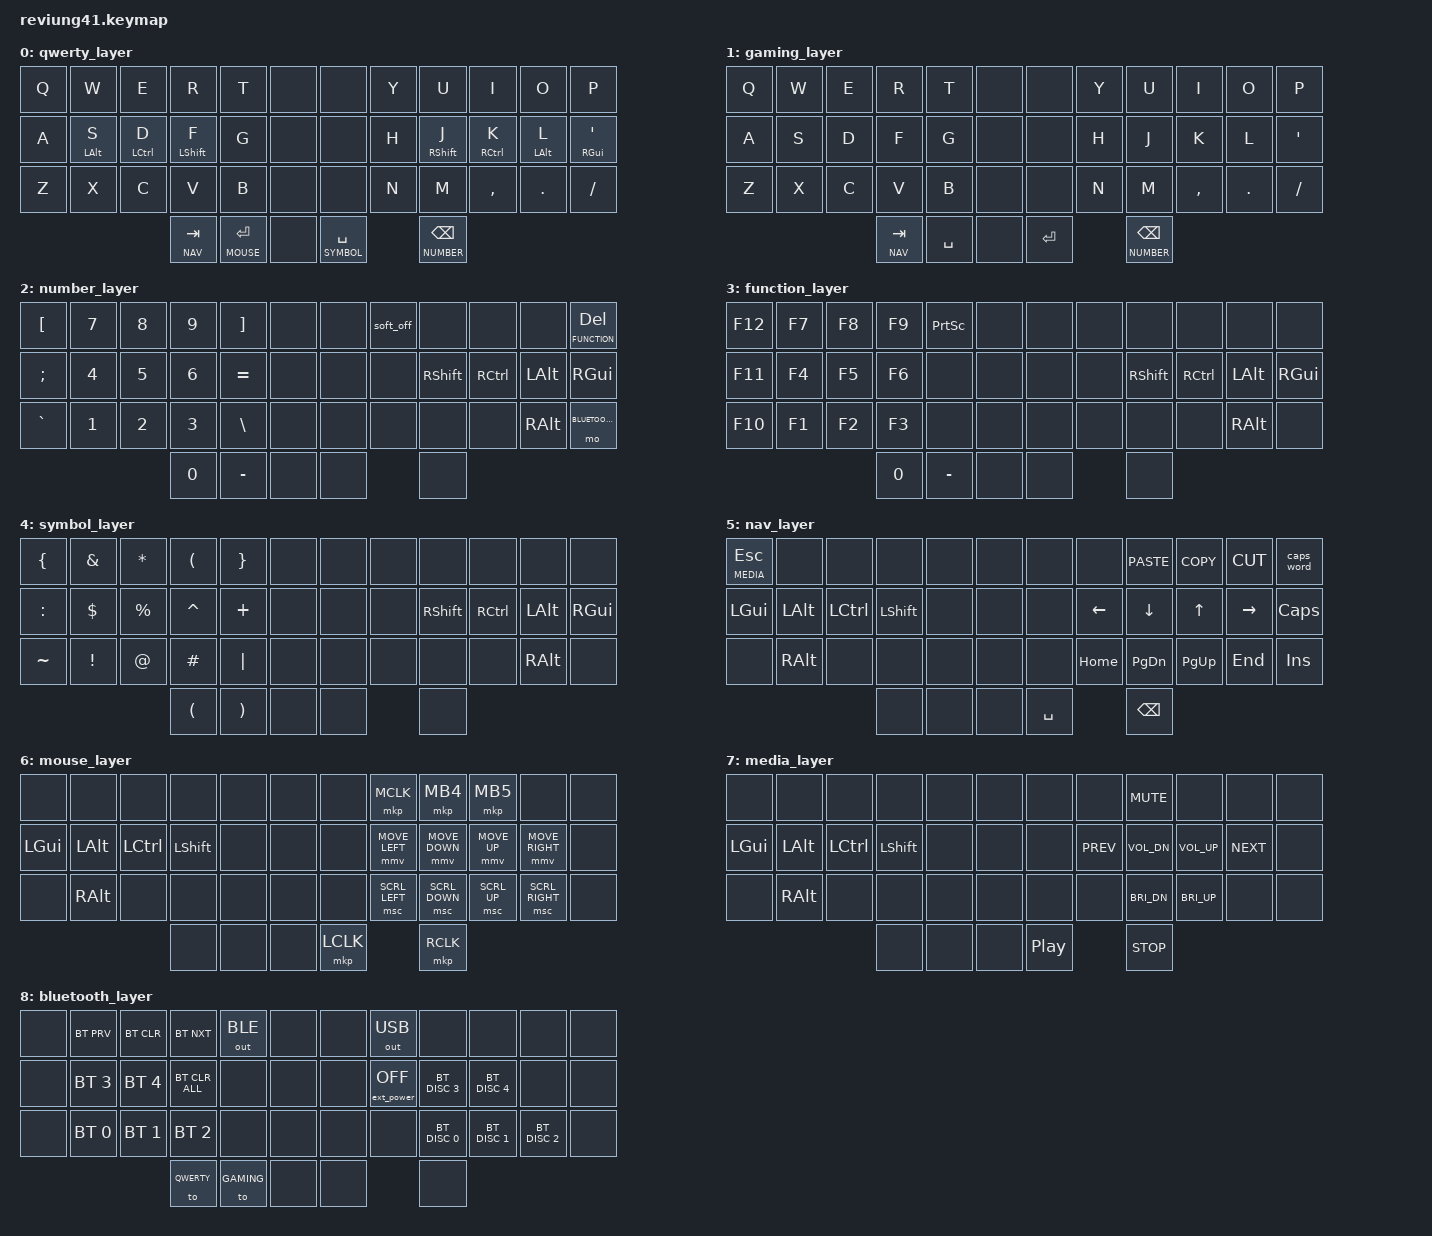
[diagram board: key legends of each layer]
#define ZMK_POINTING_DEFAULT_MOVE_VAL 1500  // 600
#define ZMK_POINTING_DEFAULT_SCRL_VAL 20    // 10

#include "keys-34.h"
#include <dt-bindings/zmk/pointing.h>
#include <behaviors.dtsi>
#include <dt-bindings/zmk/keys.h>
#include <dt-bindings/zmk/bt.h>
#include <dt-bindings/zmk/outputs.h>
#include <dt-bindings/zmk/ext_power.h>

#define QWERTY 0
#define GAMING 1
#define NUMBER 2
#define FUNCTION 3
#define SYMBOL 4
#define NAV 5
#define MOUSE 6
#define MEDIA 7
#define BLUETOOTH 8

#define TAPPING_TERM_MS 200
#define REQUIRE_PRIOR_IDLE_MS 30
#define QUICK_TAP_MS 150
#define HOLD_TIME_MS 1000

#define KEYS_L LT0 LT1 LT2 LT3 LT4 LM0 LM1 LM2 LM3 LM4 LB0 LB1 LB2 LB3 LB4  // left hand
#define KEYS_R RT0 RT1 RT2 RT3 RT4 RM0 RM1 RM2 RM3 RM4 RB0 RB1 RB2 RB3 RB4  // right hand
#define THUMBS LH1 LH0 RH0 RH1

&soft_off {
    hold-time-ms = <HOLD_TIME_MS>; // Only turn off it the key is held for 1 seconds or longer.
};

/ {
        vbatt: vbatt {
                compatible = "zmk,battery-nrf-vddh";
        };
        chosen {
                zmk,battery = &vbatt;
        };
        behaviors {
                hml: hml {
                        compatible = "zmk,behavior-hold-tap";
                        #binding-cells = <2>;
                        flavor = "balanced";
                        tapping-term-ms = <TAPPING_TERM_MS>;                        // <---[[produces tap if held longer than tapping-term-ms]]
                        quick-tap-ms = <QUICK_TAP_MS>;
                        require-prior-idle-ms = <REQUIRE_PRIOR_IDLE_MS>;
                        bindings = <&kp>, <&kp>;
                        hold-trigger-key-positions = <KEYS_R THUMBS>;
                        hold-trigger-on-release;
                };
                hmr: hmr {
                        compatible = "zmk,behavior-hold-tap";
                        #binding-cells = <2>;
                        flavor = "balanced";
                        tapping-term-ms = <TAPPING_TERM_MS>;                        // <---[[produces tap if held longer than tapping-term-ms]]
                        quick-tap-ms = <QUICK_TAP_MS>;
                        require-prior-idle-ms = <REQUIRE_PRIOR_IDLE_MS>;
                        bindings = <&kp>, <&kp>;
                        hold-trigger-key-positions = <KEYS_R THUMBS>;
                        hold-trigger-on-release;
                };
        };
        keymap {
                compatible = "zmk,keymap";

                qwerty_layer { // 0
                        bindings = <
   &kp Q  &kp W       &kp E        &kp R        &kp T &none     &none &kp Y &kp U        &kp I        &kp O       &kp P
   &kp A  &hml LALT S &hml LCTRL D &hml LSHFT F &kp G &none     &none &kp H &hmr RSHFT J &hmr RCTRL K &hmr LALT L &hmr RGUI QUOT
   &kp Z  &kp X       &kp C        &kp V        &kp B &none     &none &kp N &kp M        &kp COMMA    &kp DOT     &kp FSLH
                               &lt NAV TAB &lt MOUSE ENTER &none &lt SYMBOL SPACE &lt NUMBER BACKSPACE
                        >;
                };

                gaming_layer { // 1
                        bindings = <
   &kp Q  &kp W  &kp E  &kp R  &kp T &none          &none &kp Y &kp U &kp I      &kp O    &kp P
   &kp A  &kp S  &kp D  &kp F  &kp G &none          &none &kp H &kp J &kp K      &kp L    &kp QUOT
   &kp Z  &kp X  &kp C  &kp V  &kp B &none          &none &kp N &kp M &kp COMMA  &kp DOT  &kp FSLH
                               &lt NAV TAB &kp SPACE &none &kp ENTER &lt NUMBER BACKSPACE
                        >;
                };

                number_layer { // 2
                        bindings = <
   &kp LBKT  &kp N7 &kp N8 &kp N9 &kp RBKT  &none       &none &soft_off &none     &none     &none    &lt FUNCTION DELETE
   &kp SEMI  &kp N4 &kp N5 &kp N6 &kp EQUAL &none       &none &none     &kp RSHFT &kp RCTRL &kp LALT &kp RGUI
   &kp GRAVE &kp N1 &kp N2 &kp N3 &kp BSLH  &none       &none &none     &none     &none     &kp RALT &mo BLUETOOTH
                                 &kp N0 &kp MINUS &none &none &none
                        >;
                };

                function_layer { // 3
                        bindings = <
   &kp F12 &kp F7 &kp F8 &kp F9 &kp PSCRN &none       &none &none &none     &none     &none    &none
   &kp F11 &kp F4 &kp F5 &kp F6 &none     &none       &none &none &kp RSHFT &kp RCTRL &kp LALT &kp RGUI
   &kp F10 &kp F1 &kp F2 &kp F3 &none     &none       &none &none &none     &none     &kp RALT &none
                                &kp 0 &kp MINUS &none &none &none
                        >;
                };

                symbol_layer { // 4
                        bindings = <
   &kp LBRC  &kp AMPS &kp ASTRK   &kp LPAR  &kp RBRC &none       &none &none &none     &none     &none    &none
   &kp COLON &kp DLLR &kp PERCENT &kp CARET &kp PLUS &none       &none &none &kp RSHFT &kp RCTRL &kp LALT &kp RGUI
   &kp TILDE &kp EXCL &kp AT      &kp HASH  &kp PIPE &none       &none &none &none     &none     &kp RALT &none
                                         &kp LPAR &kp RPAR &none &none &none
                        >;
                };

                nav_layer { // 5
                        bindings = <
   &lt MEDIA ESC &none    &none     &none     &none &none       &none &none    &kp K_PASTE &kp K_COPY &kp K_CUT &caps_word
   &kp LGUI  &kp LALT &kp LCTRL &kp LSHFT &none &none       &none &kp LEFT &kp DOWN    &kp UP     &kp RIGHT &kp CAPS
   &none     &kp RALT &none     &none     &none &none       &none &kp HOME &kp PG_DN   &kp PG_UP  &kp END   &kp INS
                                          &none &none &none &kp SPACE &kp BSPC
                        >;
                };

                mouse_layer { // 6
                        bindings = <
   &none     &none    &none     &none     &none &none       &none &mkp MCLK      &mkp MB4    &mkp MB5   &none       &none
   &kp LGUI  &kp LALT &kp LCTRL &kp LSHFT &none &none       &none &mmv MOVE_LEFT &mmv MOVE_DOWN &mmv MOVE_UP &mmv MOVE_RIGHT &none
   &none     &kp RALT &none     &none     &none &none       &none &msc SCRL_LEFT &msc SCRL_DOWN &msc SCRL_UP &msc SCRL_RIGHT &none
                                          &none &none &none &mkp LCLK &mkp RCLK
                        >;
                };

                media_layer { // 7
                        bindings = <
   &none     &none    &none     &none     &none &none       &none &none       &kp C_MUTE   &none        &none      &none
   &kp LGUI  &kp LALT &kp LCTRL &kp LSHFT &none &none       &none &kp C_PREV  &kp C_VOL_DN &kp C_VOL_UP &kp C_NEXT &none
   &none     &kp RALT &none     &none     &none &none       &none &none       &kp C_BRI_DN &kp C_BRI_UP &none      &none
                                          &none &none &none &kp C_PP &kp C_STOP
                        >;
                };

                bluetooth_layer { // 8
                        bindings = <
   &none &bt BT_PRV   &bt BT_CLR   &bt BT_NXT     &out OUT_BLE &none       &none &out OUT_USB      &none         &none         &none         &none
   &none &bt BT_SEL 3 &bt BT_SEL 4 &bt BT_CLR_ALL &none        &none       &none &ext_power EP_OFF &bt BT_DISC 3 &bt BT_DISC 4 &none         &none
   &none &bt BT_SEL 0 &bt BT_SEL 1 &bt BT_SEL 2   &none        &none       &none &none             &bt BT_DISC 0 &bt BT_DISC 1 &bt BT_DISC 2 &none
                                              &to QWERTY &to GAMING &none &none &none
                        >;
                };
        };
};
